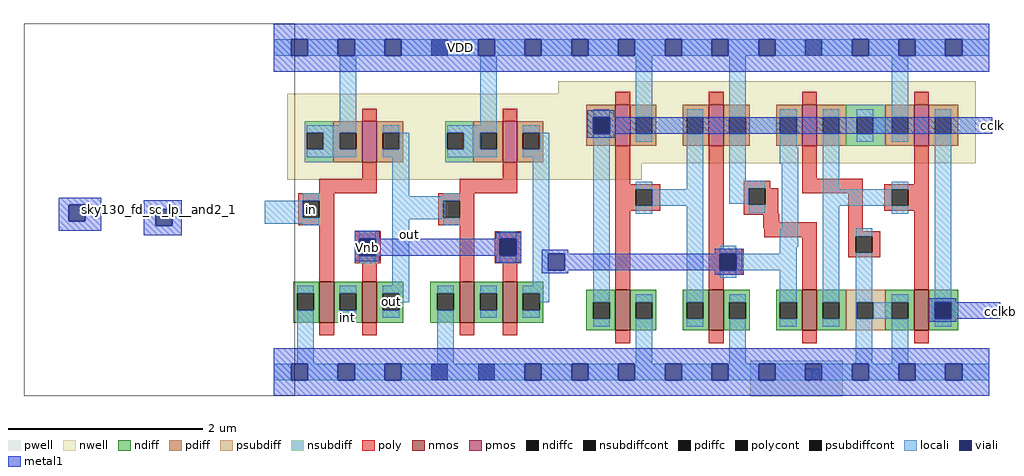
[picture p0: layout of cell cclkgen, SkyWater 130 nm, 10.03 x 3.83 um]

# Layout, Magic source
magic
tech sky130A
magscale 1 2
<< nwell >>
rect 182 444 480 620
rect 738 444 910 646
<< pwell >>
rect 1133 -1 1323 72
<< nmos >>
rect 248 150 278 234
rect 336 150 366 234
<< pmos >>
rect 336 480 366 564
<< ndiff >>
rect 194 210 248 234
rect 194 176 202 210
rect 236 176 248 210
rect 194 150 248 176
rect 278 210 336 234
rect 278 176 290 210
rect 324 176 336 210
rect 278 150 336 176
rect 366 210 420 234
rect 366 176 378 210
rect 412 176 420 210
rect 366 150 420 176
<< pdiff >>
rect 276 540 336 564
rect 276 506 290 540
rect 324 506 336 540
rect 276 480 336 506
rect 366 540 420 564
rect 366 506 378 540
rect 412 506 420 540
rect 366 480 420 506
<< ndiffc >>
rect 202 176 236 210
rect 290 176 324 210
rect 378 176 412 210
<< pdiffc >>
rect 290 506 324 540
rect 378 506 412 540
<< nsubdiff >>
rect 218 540 276 564
rect 218 506 222 540
rect 256 506 276 540
rect 218 480 276 506
<< nsubdiffcont >>
rect 222 506 256 540
<< poly >>
rect 336 564 366 590
rect 336 446 366 480
rect 248 416 366 446
rect 204 400 278 416
rect 204 366 214 400
rect 248 366 278 400
rect 204 350 278 366
rect 248 234 278 350
rect 320 322 374 338
rect 320 288 330 322
rect 364 288 374 322
rect 320 272 374 288
rect 336 234 366 272
rect 248 124 278 150
rect 336 124 366 150
<< polycont >>
rect 214 366 248 400
rect 330 288 364 322
<< locali >>
rect 154 698 190 732
rect 224 698 286 732
rect 320 698 382 732
rect 416 698 538 732
rect 290 556 324 698
rect 222 540 324 556
rect 256 506 290 540
rect 222 490 324 506
rect 378 540 412 556
rect 412 506 432 540
rect 378 490 432 506
rect 214 400 248 416
rect 136 366 214 400
rect 136 353 248 366
rect 214 350 248 353
rect 398 410 432 490
rect 398 363 506 410
rect 330 322 364 338
rect 330 272 364 288
rect 398 226 432 363
rect 202 210 236 226
rect 202 66 236 176
rect 290 210 324 226
rect 290 160 324 176
rect 378 210 432 226
rect 412 192 432 210
rect 378 160 412 176
rect 154 32 190 66
rect 224 32 286 66
rect 320 32 382 66
rect 416 32 608 66
rect 1208 32 1276 55
<< viali >>
rect 190 698 224 732
rect 286 698 320 732
rect 382 698 416 732
rect 810 538 844 572
rect -267 358 -233 392
rect -88 349 -54 383
rect 330 288 364 322
rect 618 288 652 322
rect 718 258 752 292
rect 1070 258 1104 292
rect 1512 158 1546 192
rect 190 32 224 66
rect 286 32 320 66
rect 382 32 416 66
<< metal1 >>
rect 154 732 538 764
rect 154 698 190 732
rect 224 698 286 732
rect 320 698 382 732
rect 416 698 538 732
rect 154 666 538 698
rect 1236 684 1288 751
rect 798 572 854 586
rect 798 538 810 572
rect 844 538 1630 572
rect 798 530 854 538
rect -288 392 -200 407
rect -288 358 -267 392
rect -233 358 -200 392
rect -288 339 -200 358
rect -113 383 -35 402
rect -113 349 -88 383
rect -54 349 -35 383
rect -113 330 -35 349
rect 320 322 372 339
rect 610 322 662 336
rect 320 288 330 322
rect 364 288 618 322
rect 652 288 662 322
rect 320 276 372 288
rect 610 273 662 288
rect 705 292 759 300
rect 1060 292 1116 302
rect 705 258 718 292
rect 752 258 1070 292
rect 1104 258 1116 292
rect 705 252 759 258
rect 1060 248 1116 258
rect 1500 192 1556 200
rect 1500 158 1512 192
rect 1546 158 1646 192
rect 1500 152 1556 158
rect 154 66 538 98
rect 154 32 190 66
rect 224 32 286 66
rect 320 32 382 66
rect 416 32 608 66
rect 154 0 538 32
rect 1208 20 1243 55
rect 1259 20 1276 55
use comp_clks  comp_clks_0
transform 1 0 432 0 1 0
box 302 0 1192 764
use inv_weak_pulldown  inv_weak_pulldown_0
transform 1 0 288 0 1 0
box 154 0 538 764
use sky130_fd_sc_lp__and2_1  sky130_fd_sc_lp__and2_1_0 ~/sky130A/libs.ref/sky130_fd_sc_lp/mag
transform 1 0 -321 0 1 49
box -38 -49 518 715
<< labels >>
rlabel locali 538 716 538 716 3 VDD
rlabel locali 432 332 432 332 3 out
flabel ndiffc 378 176 412 210 0 FreeSans 160 0 0 0 out
rlabel locali 306 160 306 160 5 int
flabel polycont 214 366 248 400 0 FreeSans 160 0 0 0 in
flabel polycont 330 288 364 322 0 FreeSans 160 0 0 0 Vnb
rlabel metal1 1630 556 1630 556 3 cclk
rlabel metal1 1646 172 1646 172 3 cclkb
rlabel viali -240 370 -240 370 3 clk
rlabel viali -54 368 -54 368 3 div2clk
<< end >>

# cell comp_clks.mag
magic
tech sky130A
<< nwell >>
rect 164 239 582 323
<< nmos >>
rect 212 67 227 109
rect 308 67 323 109
rect 404 67 419 109
rect 519 67 534 109
<< pmos >>
rect 212 257 227 299
rect 308 257 323 299
rect 404 257 419 299
rect 519 257 534 299
<< ndiff >>
rect 182 96 212 109
rect 182 79 189 96
rect 206 79 212 96
rect 182 67 212 79
rect 227 96 254 109
rect 227 79 233 96
rect 250 79 254 96
rect 227 67 254 79
rect 281 96 308 109
rect 281 79 285 96
rect 302 79 308 96
rect 281 67 308 79
rect 323 96 350 109
rect 323 79 329 96
rect 346 79 350 96
rect 323 67 350 79
rect 377 96 404 109
rect 377 79 381 96
rect 398 79 404 96
rect 377 67 404 79
rect 419 96 449 109
rect 489 96 519 109
rect 419 79 425 96
rect 442 79 449 96
rect 489 79 496 96
rect 513 79 519 96
rect 419 67 449 79
rect 489 67 519 79
rect 534 96 564 109
rect 534 79 540 96
rect 557 79 564 96
rect 534 67 564 79
<< pdiff >>
rect 182 286 212 299
rect 182 269 189 286
rect 206 269 212 286
rect 182 257 212 269
rect 227 286 254 299
rect 227 269 233 286
rect 250 269 254 286
rect 227 257 254 269
rect 281 286 308 299
rect 281 269 285 286
rect 302 269 308 286
rect 281 257 308 269
rect 323 286 350 299
rect 323 269 329 286
rect 346 269 350 286
rect 323 257 350 269
rect 377 286 404 299
rect 377 269 381 286
rect 398 269 404 286
rect 377 257 404 269
rect 419 286 449 299
rect 489 286 519 299
rect 419 269 425 286
rect 442 269 449 286
rect 489 269 496 286
rect 513 269 519 286
rect 419 257 449 269
rect 489 257 519 269
rect 534 286 564 299
rect 534 269 540 286
rect 557 269 564 286
rect 534 257 564 269
<< ndiffc >>
rect 189 79 206 96
rect 233 79 250 96
rect 285 79 302 96
rect 329 79 346 96
rect 381 79 398 96
rect 425 79 442 96
rect 496 79 513 96
rect 540 79 557 96
<< pdiffc >>
rect 189 269 206 286
rect 233 269 250 286
rect 285 269 302 286
rect 329 269 346 286
rect 381 269 398 286
rect 425 269 442 286
rect 496 269 513 286
rect 540 269 557 286
<< psubdiff >>
rect 449 96 489 109
rect 449 79 460 96
rect 477 79 489 96
rect 449 67 489 79
<< nsubdiff >>
rect 449 286 489 299
rect 449 269 460 286
rect 477 269 489 286
rect 449 257 489 269
<< psubdiffcont >>
rect 460 79 477 96
<< nsubdiffcont >>
rect 460 269 477 286
<< poly >>
rect 212 299 227 312
rect 308 299 323 312
rect 404 299 419 312
rect 519 299 534 312
rect 212 217 227 257
rect 212 212 258 217
rect 212 195 233 212
rect 250 195 258 212
rect 212 190 258 195
rect 212 109 227 190
rect 308 151 323 257
rect 404 223 419 257
rect 344 213 371 221
rect 344 196 349 213
rect 366 196 379 213
rect 404 208 466 223
rect 519 217 534 257
rect 344 187 379 196
rect 344 186 380 187
rect 364 178 380 186
rect 364 172 419 178
rect 365 163 419 172
rect 308 146 344 151
rect 308 129 319 146
rect 336 129 344 146
rect 308 124 344 129
rect 308 109 323 124
rect 404 109 419 163
rect 451 169 466 208
rect 488 212 534 217
rect 488 195 496 212
rect 513 195 534 212
rect 488 190 534 195
rect 451 164 484 169
rect 451 147 459 164
rect 476 147 484 164
rect 451 142 484 147
rect 519 109 534 190
rect 212 54 227 67
rect 308 54 323 67
rect 404 54 419 67
rect 519 54 534 67
<< polycont >>
rect 233 195 250 212
rect 349 196 366 213
rect 319 129 336 146
rect 496 195 513 212
rect 459 147 476 164
<< locali >>
rect 151 349 167 366
rect 184 349 215 366
rect 232 349 263 366
rect 280 349 311 366
rect 328 349 359 366
rect 376 349 407 366
rect 424 349 455 366
rect 472 349 503 366
rect 520 349 551 366
rect 568 349 596 366
rect 189 286 206 294
rect 189 96 206 269
rect 233 286 250 349
rect 233 261 250 269
rect 285 286 302 294
rect 233 212 250 220
rect 285 212 302 269
rect 250 195 302 212
rect 329 286 346 349
rect 329 221 346 269
rect 381 286 398 294
rect 381 255 398 269
rect 425 286 442 294
rect 381 238 400 255
rect 329 213 366 221
rect 329 197 349 213
rect 233 187 250 195
rect 189 71 206 79
rect 233 96 250 104
rect 233 33 250 79
rect 285 96 302 195
rect 349 188 366 196
rect 383 171 400 238
rect 319 146 336 154
rect 381 153 400 171
rect 425 212 442 269
rect 460 286 477 294
rect 496 286 513 349
rect 477 269 496 286
rect 460 261 477 269
rect 496 261 513 269
rect 540 286 557 294
rect 496 212 513 220
rect 425 195 496 212
rect 381 146 398 153
rect 336 129 398 146
rect 319 121 336 129
rect 285 71 302 79
rect 329 96 346 104
rect 329 33 346 79
rect 381 96 398 129
rect 381 71 398 79
rect 425 96 442 195
rect 496 187 513 195
rect 425 71 442 79
rect 459 164 476 172
rect 459 96 476 147
rect 496 96 513 104
rect 459 79 460 96
rect 477 79 496 96
rect 459 33 476 79
rect 496 33 513 79
rect 540 96 557 269
rect 540 71 557 79
rect 151 16 167 33
rect 184 16 215 33
rect 232 16 263 33
rect 280 16 311 33
rect 328 16 359 33
rect 376 16 407 33
rect 424 16 455 33
rect 472 16 503 33
rect 520 16 551 33
rect 568 16 596 33
<< viali >>
rect 167 349 184 366
rect 215 349 232 366
rect 263 349 280 366
rect 311 349 328 366
rect 359 349 376 366
rect 407 349 424 366
rect 455 349 472 366
rect 503 349 520 366
rect 551 349 568 366
rect 167 16 184 33
rect 215 16 232 33
rect 263 16 280 33
rect 311 16 328 33
rect 359 16 376 33
rect 407 16 424 33
rect 455 16 472 33
rect 503 16 520 33
rect 551 16 568 33
<< metal1 >>
rect 151 366 596 382
rect 151 349 167 366
rect 184 349 215 366
rect 232 349 263 366
rect 280 349 311 366
rect 328 349 359 366
rect 376 349 407 366
rect 424 349 455 366
rect 472 349 503 366
rect 520 349 551 366
rect 568 349 596 366
rect 151 333 596 349
rect 151 33 596 49
rect 151 16 167 33
rect 184 16 215 33
rect 232 16 263 33
rect 280 16 311 33
rect 328 16 359 33
rect 376 16 407 33
rect 424 16 455 33
rect 472 16 503 33
rect 520 16 551 33
rect 568 16 596 33
rect 151 0 596 16
<< labels >>
flabel polycont 319 129 336 146 0 FreeSans 80 0 0 0 clk
rlabel locali 362 129 362 129 5 clk
flabel pdiffc 189 269 206 286 0 FreeSans 80 0 0 0 clka
flabel ndiffc 189 79 206 96 0 FreeSans 80 0 0 0 clka
flabel pdiffc 540 269 557 286 0 FreeSans 80 0 0 0 clkb
flabel ndiffc 540 79 557 96 0 FreeSans 80 0 0 0 clkb
rlabel locali 596 358 596 358 3 VDD
rlabel locali 596 24 596 24 3 GND
rlabel locali 285 188 285 188 7 this
rlabel locali 480 195 480 195 5 clkt
<< end >>

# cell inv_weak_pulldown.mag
magic
tech sky130A
<< nwell >>
rect 91 222 229 310
<< nmos >>
rect 124 75 139 117
rect 168 75 183 117
<< pmos >>
rect 168 240 183 282
<< ndiff >>
rect 94 105 124 117
rect 94 88 101 105
rect 118 88 124 105
rect 94 75 124 88
rect 139 105 168 117
rect 139 88 145 105
rect 162 88 168 105
rect 139 75 168 88
rect 183 105 210 117
rect 183 88 189 105
rect 206 88 210 105
rect 183 75 210 88
<< pdiff >>
rect 138 270 168 282
rect 138 253 145 270
rect 162 253 168 270
rect 138 240 168 253
rect 183 270 210 282
rect 183 253 189 270
rect 206 253 210 270
rect 183 240 210 253
<< ndiffc >>
rect 101 88 118 105
rect 145 88 162 105
rect 189 88 206 105
<< pdiffc >>
rect 145 253 162 270
rect 189 253 206 270
<< nsubdiff >>
rect 109 270 138 282
rect 109 253 111 270
rect 128 253 138 270
rect 109 240 138 253
<< nsubdiffcont >>
rect 111 253 128 270
<< poly >>
rect 168 282 183 295
rect 168 223 183 240
rect 124 208 183 223
rect 102 200 139 208
rect 102 183 107 200
rect 124 183 139 200
rect 102 175 139 183
rect 124 117 139 175
rect 160 161 187 169
rect 160 144 165 161
rect 182 144 187 161
rect 160 136 187 144
rect 168 117 183 136
rect 124 62 139 75
rect 168 62 183 75
<< polycont >>
rect 107 183 124 200
rect 165 144 182 161
<< locali >>
rect 77 349 95 366
rect 112 349 143 366
rect 160 349 191 366
rect 208 349 239 366
rect 256 349 269 366
rect 145 278 162 349
rect 111 270 162 278
rect 128 253 145 270
rect 111 245 162 253
rect 189 270 206 278
rect 206 253 216 270
rect 189 245 216 253
rect 107 200 124 208
rect 107 175 124 183
rect 165 161 182 169
rect 165 136 182 144
rect 199 113 216 245
rect 101 105 118 113
rect 101 33 118 88
rect 145 105 162 113
rect 145 80 162 88
rect 189 105 216 113
rect 206 96 216 105
rect 189 80 206 88
rect 77 16 95 33
rect 112 16 143 33
rect 160 16 191 33
rect 208 16 239 33
rect 256 16 269 33
<< viali >>
rect 95 349 112 366
rect 143 349 160 366
rect 191 349 208 366
rect 239 349 256 366
rect 95 16 112 33
rect 143 16 160 33
rect 191 16 208 33
rect 239 16 256 33
<< metal1 >>
rect 77 366 269 382
rect 77 349 95 366
rect 112 349 143 366
rect 160 349 191 366
rect 208 349 239 366
rect 256 349 269 366
rect 77 333 269 349
rect 77 33 269 49
rect 77 16 95 33
rect 112 16 143 33
rect 160 16 191 33
rect 208 16 239 33
rect 256 16 269 33
rect 77 0 269 16
<< labels >>
rlabel locali 269 358 269 358 3 VDD
rlabel locali 269 24 269 24 3 GND
rlabel locali 216 166 216 166 3 out
flabel ndiffc 189 88 206 105 0 FreeSans 80 0 0 0 out
rlabel locali 153 80 153 80 5 int
flabel polycont 165 144 182 161 0 FreeSans 80 0 0 0 Vnb
flabel polycont 107 183 124 200 0 FreeSans 80 0 0 0 in
<< end >>
